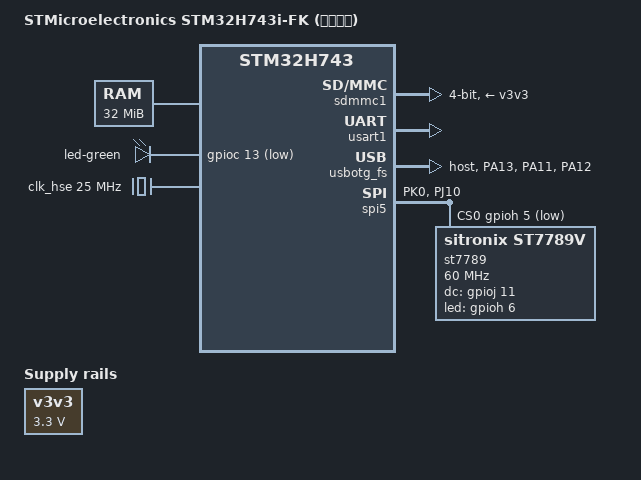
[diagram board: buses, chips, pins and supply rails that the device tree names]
/dts-v1/;
#include <dt-bindings/gpio/gpio.h>
#include "stm32h743.dtsi"
#include "stm32h7-pinctrl.dtsi"

/ {
	model = "STMicroelectronics STM32H743i-FK (反客科技)";
	compatible = "st,stm32h743i-fk", "st,stm32h743";

	chosen {
		bootargs = "console=tty0 console=ttySTM0,115200n8 earlyprintk ignore_loglevel root=/dev/mmcblk0 rw rootwait panic=10";
		stdout-path = "serial0:115200n8";
	};

	memory@c0000000 {
		device_type = "memory";
		reg = <0xc0000000 0x2000000>;
	};

	reserved-memory {
		#address-cells = <1>;
		#size-cells = <1>;
		ranges;

		linux,cma {
			compatible = "shared-dma-pool";
			no-map;
			size = <0x100000>;
			linux,dma-default;
		};
	};

	aliases {
		serial0 = &usart1;
	};

	leds {
		compatible = "gpio-leds";
		led-green {
			gpios = <&gpioc 13 1>;
			linux,default-trigger = "heartbeat";
		};
    };

	v3v3: regulator-v3v3 {
		compatible = "regulator-fixed";
		regulator-name = "v3v3";
		regulator-min-microvolt = <3300000>;
		regulator-max-microvolt = <3300000>;
		regulator-always-on;
	};
};

&clk_hse {
	clock-frequency = <25000000>;
};

&mac {
	status = "disabled";
	pinctrl-0 = <&ethernet_rmii>;
	pinctrl-names = "default";
	phy-mode = "rmii";
	phy-handle = <&phy0>;

	mdio0 {
		#address-cells = <1>;
		#size-cells = <0>;
		compatible = "snps,dwmac-mdio";
		phy0: ethernet-phy@0 {
			reg = <0>;
		};
	};
};

&sdmmc1 {
	pinctrl-names = "default", "opendrain", "sleep";
	pinctrl-0 = <&sdmmc1_b4_pins_a>;
	pinctrl-1 = <&sdmmc1_b4_od_pins_a>;
	pinctrl-2 = <&sdmmc1_b4_sleep_pins_a>;
	broken-cd;
	st,neg-edge;
	bus-width = <4>;
	vmmc-supply = <&v3v3>;
	status = "okay";
};

&usart1 {
	pinctrl-0 = <&usart1_pins>;
	pinctrl-names = "default";
	status = "okay";
};

&usart1_pins {
	pins1 {
		pinmux = <STM32_PINMUX('A',  9, AF7)>;
	};
	pins2 {
		pinmux = <STM32_PINMUX('A', 10, AF7)>;
	};
};

&pinctrl {
	usbotg_fs_pins_a: usbotg-fs-0 {
		pins {
			pinmux = <STM32_PINMUX('A', 13, AF12)>, // ID
				 	 <STM32_PINMUX('A', 11, AF12)>, //* D-
				 	 <STM32_PINMUX('A', 12, AF12)>; //* D+
			bias-disable;
			drive-push-pull;
			slew-rate = <2>;
		};
	};

	spi5_pins: spi5-0 {
		pins1 {
			pinmux = <STM32_PINMUX('K',  0, AF5)>, // SCL
				 	 <STM32_PINMUX('J', 10, AF5)>; // SDA
			bias-disable;
			drive-push-pull;
			slew-rate = <2>;
		};
	};
};

&usbotg_fs {
	dr_mode = "host";
	pinctrl-0 = <&usbotg_fs_pins_a>;
	pinctrl-names = "default";
	status = "okay";
};

&spi5 {
	status ="okay";
	pinctrl-0 = <&spi5_pins>;
	pinctrl-names = "default";
	cs-gpios = <&gpioh 5 GPIO_ACTIVE_LOW>; // CS
	dmas = <&dmamux1 85 0x400 0x05>,
		   <&dmamux1 86 0x400 0x05>;
	dma-names = "rx", "tx";

	st7789: st7789v@0 {
		compatible = "sitronix,st7789v";
		reg = <0>;
		spi-max-frequency = <60000000>;
		rotate = <90>;
		spi-cpol;
		spi-cpha;
		rgb;
		fps = <30>;
		buswidth = <8>;
		dc-gpios = <&gpioj 11 GPIO_ACTIVE_HIGH>; // DC
		led-gpios = <&gpioh 6 GPIO_ACTIVE_HIGH>; // BL
		debug = <0>;
		status ="okay";
	};
};

&dma1 {
	status = "okay";
};
